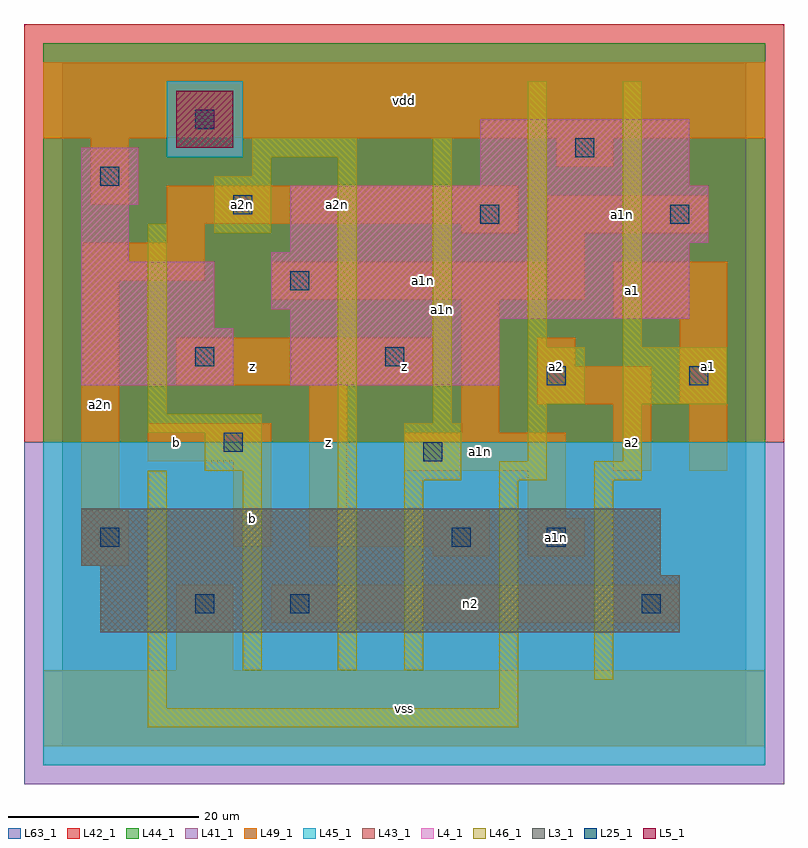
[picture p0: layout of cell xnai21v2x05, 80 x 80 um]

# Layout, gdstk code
import gdstk
lib = gdstk.Library(unit=1e-6, precision=1e-09)
def R(c, l, rs):  # rectangles x0, y0, x1, y1
    for r in rs: c.add(gdstk.rectangle(r[:2], r[2:], *l))
L3_1 = (3, 1)
L4_1 = (4, 1)
L5_1 = (5, 1)
L25_1 = (25, 1)
L41_1 = (41, 1)
L42_1 = (42, 1)
L43_1 = (43, 1)
L44_1 = (44, 1)
L45_1 = (45, 1)
L46_1 = (46, 1)
L49_1 = (49, 1)
L63_1 = (63, 1)

xnai21v2x05 = lib.new_cell('xnai21v2x05')
R(xnai21v2x05, L3_1, [(4,12,65,18), (4,18,63,19), (2,19,63,25)])
R(xnai21v2x05, L4_1, [(2,38,18,44), (24,38,46,45), (2,44,16,51), (24,45,66,46), (22,46,66,52), (2,51,7,57), (24,52,66,53), (24,53,68,59), (2,57,8,63), (44,59,66,66)])
R(xnai21v2x05, L5_1, [(12,63,18,69)])
R(xnai21v2x05, L25_1, [(14,14,16,16), (24,14,26,16), (61,14,63,16), (4,21,6,23), (41,21,43,23), (51,21,53,23), (38,30,40,32), (17,31,19,33), (51,38,53,40), (66,38,68,40), (14,40,16,42), (34,40,36,42), (24,48,26,50), (44,55,46,57), (64,55,66,57), (18,56,20,58), (4,59,6,61), (54,62,56,64), (14,65,16,67)])
R(xnai21v2x05, L41_1, [(-4,-4,76,32)])
R(xnai21v2x05, L42_1, [(-4,32,76,76)])
R(xnai21v2x05, L43_1, [(4,12,65,18), (4,18,63,19), (2,19,63,25), (2,38,18,44), (24,38,46,45), (2,44,16,51), (24,45,66,46), (22,46,66,52), (2,51,7,57), (24,52,66,53), (24,53,68,59), (2,57,8,63), (44,59,66,66), (12,63,18,69)])
R(xnai21v2x05, L44_1, [(-2,32,74,62), (-2,62,11,70), (19,62,74,70), (-2,70,74,74)])
R(xnai21v2x05, L45_1, [(-2,-2,74,32), (11,62,19,70)])
R(xnai21v2x05, L46_1, [(9,2,48,4), (9,4,11,29), (46,4,48,28), (56,7,58,28), (19,8,21,29), (29,8,31,62), (36,8,38,28), (36,28,42,34), (46,28,51,30), (56,28,61,30), (15,29,21,33), (49,30,51,36), (59,30,61,36), (9,33,21,35), (39,34,41,64), (9,35,11,55), (49,36,55,42), (59,36,70,42), (49,42,51,70), (59,42,61,70), (16,54,22,60), (20,60,22,62), (20,62,31,64)])
R(xnai21v2x05, L49_1, [(-2,0,74,8), (12,8,18,17), (22,13,65,17), (2,19,7,25), (39,20,45,21), (49,20,55,24), (18,21,22,30), (26,21,45,25), (49,24,53,29), (2,25,6,49), (26,25,30,38), (36,29,53,33), (58,29,62,36), (66,29,70,36), (9,30,22,34), (42,33,46,47), (50,36,62,40), (65,36,70,45), (12,38,39,43), (50,40,54,43), (58,45,70,51), (22,47,55,51), (2,49,15,53), (51,51,55,54), (11,53,15,55), (42,54,48,55), (51,54,68,58), (11,55,48,59), (3,57,7,64), (52,61,58,64), (-2,64,74,72)])
R(xnai21v2x05, L63_1, [(0,0,72,72)])
xnai21v2x05.add(gdstk.Label('a2n', (19,57), layer=49, texttype=1))
xnai21v2x05.add(gdstk.Label('a1n', (40,46), layer=46, texttype=1))
xnai21v2x05.add(gdstk.Label('b', (12,32), layer=49, texttype=1))
xnai21v2x05.add(gdstk.Label('a2n', (4,36), layer=49, texttype=1))
xnai21v2x05.add(gdstk.Label('b', (20,24), layer=49, texttype=1))
xnai21v2x05.add(gdstk.Label('z', (28,32), layer=49, texttype=1))
xnai21v2x05.add(gdstk.Label('z', (20,40), layer=49, texttype=1))
xnai21v2x05.add(gdstk.Label('vss', (36,4), layer=49, texttype=1))
xnai21v2x05.add(gdstk.Label('a1n', (44,31), layer=49, texttype=1))
xnai21v2x05.add(gdstk.Label('a1n', (52,22), layer=49, texttype=1))
xnai21v2x05.add(gdstk.Label('a2', (52,40), layer=49, texttype=1))
xnai21v2x05.add(gdstk.Label('z', (36,40), layer=49, texttype=1))
xnai21v2x05.add(gdstk.Label('a1n', (38,49), layer=49, texttype=1))
xnai21v2x05.add(gdstk.Label('a2n', (29,57), layer=49, texttype=1))
xnai21v2x05.add(gdstk.Label('vdd', (36,68), layer=49, texttype=1))
xnai21v2x05.add(gdstk.Label('n2', (43,15), layer=49, texttype=1))
xnai21v2x05.add(gdstk.Label('a2', (60,32), layer=49, texttype=1))
xnai21v2x05.add(gdstk.Label('a1', (68,40), layer=49, texttype=1))
xnai21v2x05.add(gdstk.Label('a1', (60,48), layer=49, texttype=1))
xnai21v2x05.add(gdstk.Label('a1n', (59,56), layer=49, texttype=1))

lib.write_gds('xnai21v2x05.gds')
